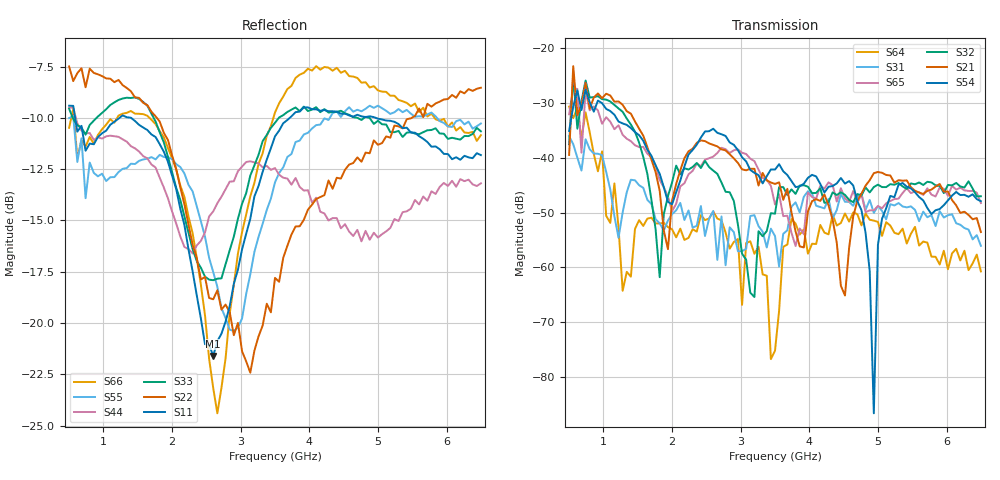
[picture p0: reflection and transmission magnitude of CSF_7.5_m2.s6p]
!Keysight Technologies,M9804A,MY58100912,A.14.10.03
!Date: Thursday, April 27, 2023 10:28:33
!Correction: S11(C  6-Port  )
!S12(C  6-Port  )
!S13(C  6-Port  )
!S14(C  6-Port  )
!S15(C  6-Port  )
!S16(C  6-Port  )
!S21(C  6-Port  )
!S22(C  6-Port  )
!S23(C  6-Port  )
!S24(C  6-Port  )
!S25(C  6-Port  )
!S26(C  6-Port  )
!S31(C  6-Port  )
!S32(C  6-Port  )
!S33(C  6-Port  )
!S34(C  6-Port  )
!S35(C  6-Port  )
!S36(C  6-Port  )
!S41(C  6-Port  )
!S42(C  6-Port  )
!S43(C  6-Port  )
!S44(C  6-Port  )
!S45(C  6-Port  )
!S46(C  6-Port  )
!S51(C  6-Port  )
!S52(C  6-Port  )
!S53(C  6-Port  )
!S54(C  6-Port  )
!S55(C  6-Port  )
!S56(C  6-Port  )
!S61(C  6-Port  )
!S62(C  6-Port  )
!S63(C  6-Port  )
!S64(C  6-Port  )
!S65(C  6-Port  )
!S66(C  6-Port  )
!S6P File: Measurement: :
# Hz S  RI  R 50
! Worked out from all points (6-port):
!   101 points, 500 MHz to 6.5 GHz, reference 50 ohm
!   strongest paths, dB at 500 MHz, 2 GHz, 3.5 GHz, 5 GHz, 6.5 GHz:
!     S54: -35.1, -48.5, -42.2, -55.9, -47.9
!     S21: -39.5, -47.8, -44.8, -42.6, -53.5
!     S32: -37.6, -44.5, -50.2, -44.9, -47.0
!     S65: -32.1, -49.7, -48.5, -48.8, -48.3
!     S31: -36.1, -50.3, -54.3, -48.8, -56.1
!     S64: -30.7, -53.1, -75.2, -51.7, -60.7
!   lowest |S11| = -21.6 dB at 2.6 GHz (marker M1), VSWR 1.18, Z = 42.6 + j2.08 ohm
!   |S11| at or under -10 dB: 587.9 MHz to 1.234 GHz (646.1 MHz wide, 70.9 % of centre); 1.403 GHz to 3.715 GHz (2.312 GHz wide, 90.4 % of centre); 4.968 GHz to end of sweep
